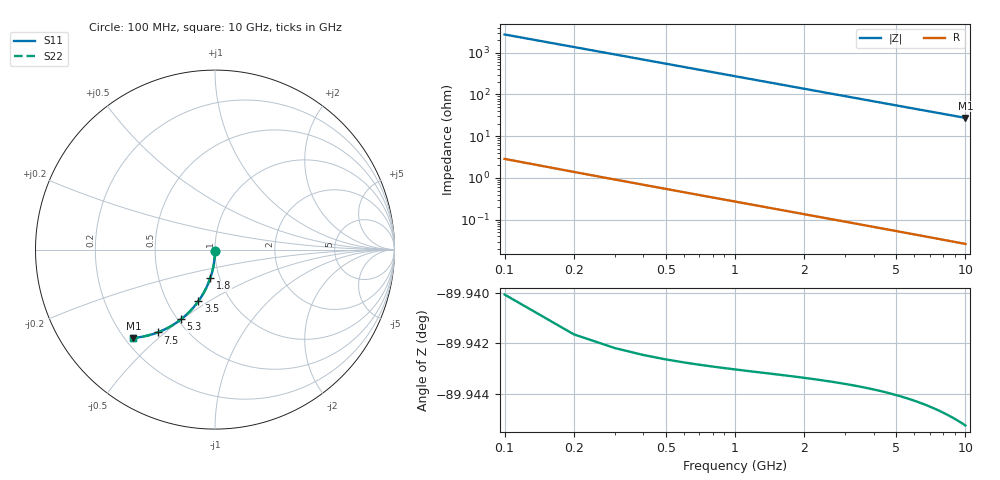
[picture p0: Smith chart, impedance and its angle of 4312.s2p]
# Hz S RI R 50.00
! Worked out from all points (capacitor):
!   100 points, 100 MHz to 10 GHz, reference 50 ohm
!   read as one part in shunt: C = 581 fF near 100 MHz
!   lowest |Z| = 27.5 ohm at 10 GHz (marker M1)
!   S11 on the Smith chart (normalised r, x): 100 MHz: 1.00, -0.02; 1.8 GHz: 0.90, -0.29; 3.5 GHz: 0.71, -0.45; 5.3 GHz: 0.52, -0.50; 7.5 GHz: 0.35, -0.47; 10 GHz: 0.23, -0.42
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1e8  -4.61e-05 -0.00907  0.9999 -0.00919  0.9999 -0.00919  -4.61e-05 -0.00907
2e8  -0.000305 -0.0181  0.9996 -0.0184  0.9996 -0.0184  -0.000305 -0.0181
3e8  -0.00073 -0.0272  0.9992 -0.0275  0.9992 -0.0275  -0.00073 -0.0272
4e8  -0.00132 -0.0362  0.9986 -0.0367  0.9986 -0.0367  -0.00132 -0.0362
5e8  -0.00208 -0.0453  0.9978 -0.0458  0.9978 -0.0458  -0.00208 -0.0453
6e8  -0.003 -0.0543  0.9969 -0.0549  0.9969 -0.0549  -0.003 -0.0543
8e8  -0.00533 -0.0722  0.9946 -0.0731  0.9946 -0.0731  -0.00533 -0.0722
1.1e9  -0.01 -0.0988  0.9899 -0.1  0.9899 -0.1  -0.01 -0.0988
1.4e9  -0.0161 -0.1249  0.9838 -0.1265  0.9838 -0.1265  -0.0161 -0.1249
1.8e9  -0.0264 -0.1589  0.9735 -0.161  0.9735 -0.161  -0.0264 -0.1589
2.1e9  -0.0356 -0.1836  0.9643 -0.186  0.9643 -0.186  -0.0356 -0.1836
2.5e9  -0.0496 -0.2154  0.9503 -0.2183  0.9503 -0.2183  -0.0496 -0.2154
2.9e9  -0.0657 -0.2456  0.9342 -0.2489  0.9342 -0.2489  -0.0657 -0.2456
3.4e9  -0.088 -0.281  0.9119 -0.2849  0.9119 -0.2849  -0.088 -0.281
3.5e9  -0.0928 -0.2877  0.9071 -0.2917  0.9071 -0.2917  -0.0928 -0.2877
4.3e9  -0.1337 -0.3374  0.8662 -0.3423  0.8662 -0.3423  -0.1337 -0.3374
5.1e9  -0.1783 -0.3794  0.8216 -0.3853  0.8216 -0.3853  -0.1783 -0.3794
5.3e9  -0.1898 -0.3887  0.81 -0.3948  0.81 -0.3948  -0.1898 -0.3887
6.7e9  -0.2724 -0.4409  0.7275 -0.4486  0.7275 -0.4486  -0.2724 -0.4409
7.5e9  -0.3193 -0.4614  0.6806 -0.47  0.6806 -0.47  -0.3193 -0.4614
8.4e9  -0.3704 -0.4776  0.6295 -0.4873  0.6295 -0.4873  -0.3704 -0.4776
1e10  -0.4546 -0.4916  0.5452 -0.5032  0.5452 -0.5032  -0.4546 -0.4916
